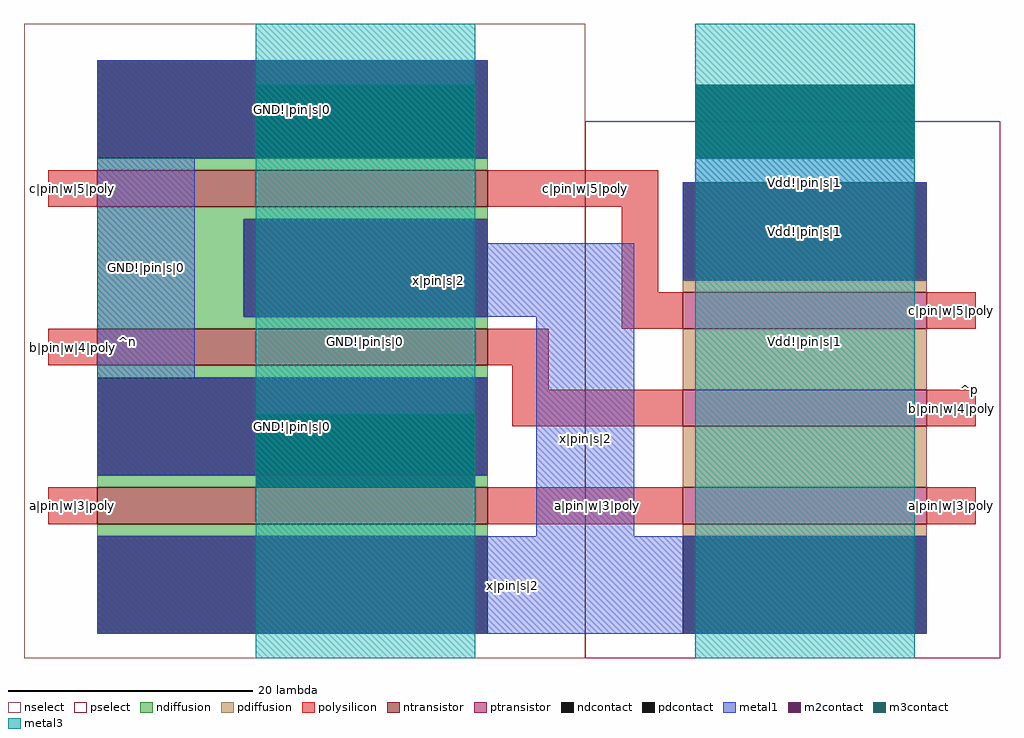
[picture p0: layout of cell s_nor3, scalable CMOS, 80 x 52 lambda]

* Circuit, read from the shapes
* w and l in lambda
.subckt s_nor3 GND!|pin|s|0 Vdd!|pin|s|1 a|pin|w|3|poly b|pin|w|4|poly c|pin|w|5|poly x|pin|s|2
M1 GND!|pin|s|0 a|pin|w|3|poly x|pin|s|2 VSUBS nfet w=32 l=3
M2 x|pin|s|2 b|pin|w|4|poly GND!|pin|s|0 VSUBS nfet w=32 l=3
M3 GND!|pin|s|0 c|pin|w|5|poly x|pin|s|2 VSUBS nfet w=32 l=3
M4 n1 a|pin|w|3|poly x|pin|s|2 NWELL pfet w=20 l=3
M5 n2 b|pin|w|4|poly n1 NWELL pfet w=20 l=3
M6 Vdd!|pin|s|1 c|pin|w|5|poly n2 NWELL pfet w=20 l=3
.ends

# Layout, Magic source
magic
tech scmos
<< nselect >>
rect -46 419 0 471
<< pselect >>
rect 0 419 34 463
<< ndiffusion >>
rect -40 459 -8 460
rect -40 455 -8 456
rect -40 447 -28 455
rect -40 446 -8 447
rect -40 442 -8 443
rect -40 433 -8 434
rect -40 429 -8 430
<< pdiffusion >>
rect 8 449 28 450
rect 8 441 28 446
rect 8 433 28 438
rect 8 429 28 430
<< ntransistor >>
rect -40 456 -8 459
rect -40 443 -8 446
rect -40 430 -8 433
<< ptransistor >>
rect 8 446 28 449
rect 8 438 28 441
rect 8 430 28 433
<< polysilicon >>
rect -44 456 -40 459
rect -8 456 6 459
rect 3 449 6 456
rect 3 446 8 449
rect 28 446 32 449
rect -44 443 -40 446
rect -8 443 -3 446
rect -6 441 -3 443
rect -6 438 8 441
rect 28 438 32 441
rect -44 430 -40 433
rect -8 430 8 433
rect 28 430 32 433
<< ndcontact >>
rect -40 460 -8 468
rect -28 447 -8 455
rect -40 434 -8 442
rect -40 421 -8 429
<< pdcontact >>
rect 8 450 28 458
rect 8 421 28 429
<< metal1 >>
rect -40 466 -8 468
rect -40 460 -27 466
rect -9 460 -8 466
rect -40 442 -32 460
rect 9 458 27 460
rect -28 453 -8 455
rect -28 447 4 453
rect 8 450 28 458
rect -40 439 -8 442
rect -40 434 -27 439
rect -9 434 -8 439
rect -4 429 4 447
rect -40 421 28 429
<< m2contact >>
rect -27 460 -9 466
rect 9 460 27 466
rect -27 433 -9 439
<< m3contact >>
rect -27 460 -9 466
rect 9 460 27 466
rect -27 433 -9 439
<< metal3 >>
rect -27 419 -9 471
rect 9 419 27 471
<< labels >>
rlabel space -47 419 -28 471 7 ^n
rlabel space 28 419 35 463 3 ^p
rlabel metal3 -27 419 -9 471 1 GND!|pin|s|0
rlabel metal1 -40 460 -8 468 1 GND!|pin|s|0
rlabel metal1 -40 434 -8 442 1 GND!|pin|s|0
rlabel metal1 -40 434 -32 468 1 GND!|pin|s|0
rlabel metal3 9 419 27 471 1 Vdd!|pin|s|1
rlabel metal1 8 450 28 458 1 Vdd!|pin|s|1
rlabel metal1 9 450 27 466 1 Vdd!|pin|s|1
rlabel metal1 -40 421 28 429 1 x|pin|s|2
rlabel metal1 -4 421 4 453 1 x|pin|s|2
rlabel metal1 -28 447 4 453 1 x|pin|s|2
rlabel polysilicon 28 430 32 433 1 a|pin|w|3|poly
rlabel polysilicon -1 430 3 433 1 a|pin|w|3|poly
rlabel polysilicon -44 430 -40 433 1 a|pin|w|3|poly
rlabel polysilicon -44 443 -40 446 1 b|pin|w|4|poly
rlabel polysilicon 28 438 32 441 1 b|pin|w|4|poly
rlabel polysilicon 28 446 32 449 1 c|pin|w|5|poly
rlabel polysilicon -2 456 2 459 1 c|pin|w|5|poly
rlabel polysilicon -44 456 -40 459 1 c|pin|w|5|poly
<< end >>
